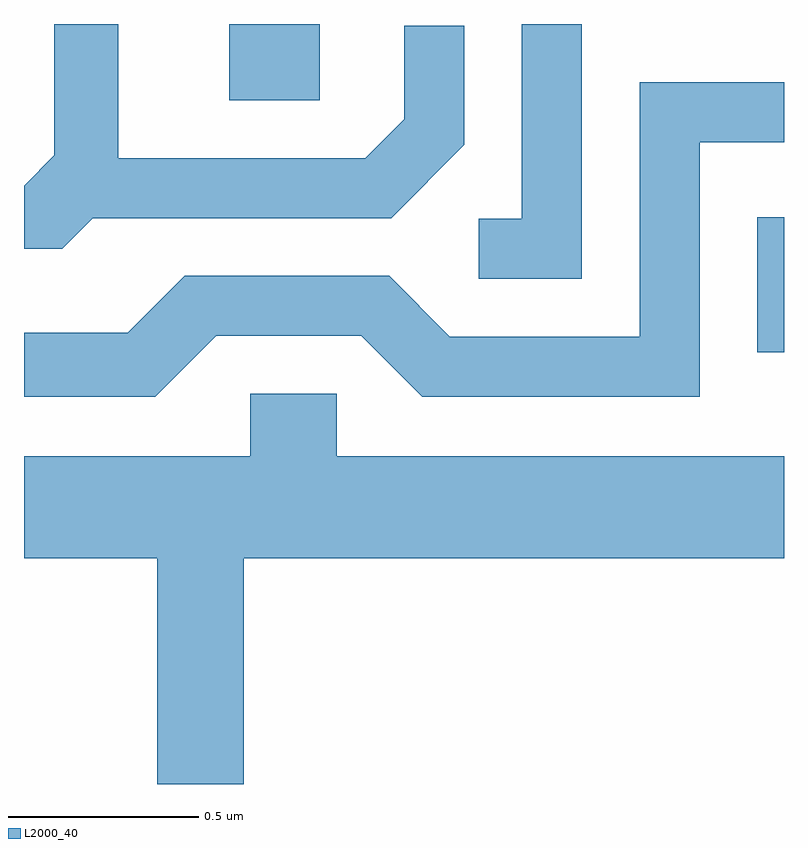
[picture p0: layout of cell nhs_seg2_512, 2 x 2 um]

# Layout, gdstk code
import gdstk
lib = gdstk.Library(unit=1e-6, precision=1e-09)
def R(c, l, rs):  # rectangles x0, y0, x1, y1
    for r in rs: c.add(gdstk.rectangle(r[:2], r[2:], *l))
def P(c, l, *ps):  # polygons
    for p in ps: c.add(gdstk.Polygon(p, *l))
L2000_40 = (2000, 40)

nhs_seg2_512 = lib.new_cell('nhs_seg2_512')
R(nhs_seg2_512, L2000_40, [(190.541,1079.938,190.611,1080.294), (189.151,1080.601,189.389,1080.802)])
P(nhs_seg2_512, L2000_40, [(188.792,1080.291),(189.577,1080.291),(189.769,1080.484),(189.769,1080.798),(189.611,1080.798),(189.611,1080.552),(189.509,1080.449),(188.859,1080.449),(188.859,1080.802),(188.691,1080.802),(188.691,1080.457),(188.611,1080.376),(188.611,1080.211),(188.712,1080.211)],
  [(190.079,1080.802),(189.921,1080.802),(189.921,1080.289),(189.808,1080.289),(189.808,1080.131),(190.079,1080.131)],
  [(189.117,1079.981),(189.499,1079.981),(189.659,1079.821),(190.389,1079.821),(190.389,1080.491),(190.611,1080.491),(190.611,1080.649),(190.231,1080.649),(190.231,1079.979),(189.732,1079.979),(189.572,1080.139),(189.034,1080.139),(188.884,1079.989),(188.611,1079.989),(188.611,1079.821),(188.957,1079.821)],
  [(189.189,1079.396),(190.611,1079.396),(190.611,1079.664),(189.434,1079.664),(189.434,1079.829),(189.206,1079.829),(189.206,1079.664),(188.611,1079.664),(188.611,1079.396),(188.961,1079.396),(188.961,1078.802),(189.189,1078.802)])

lib.write_gds('nhs_seg2_512.gds')
